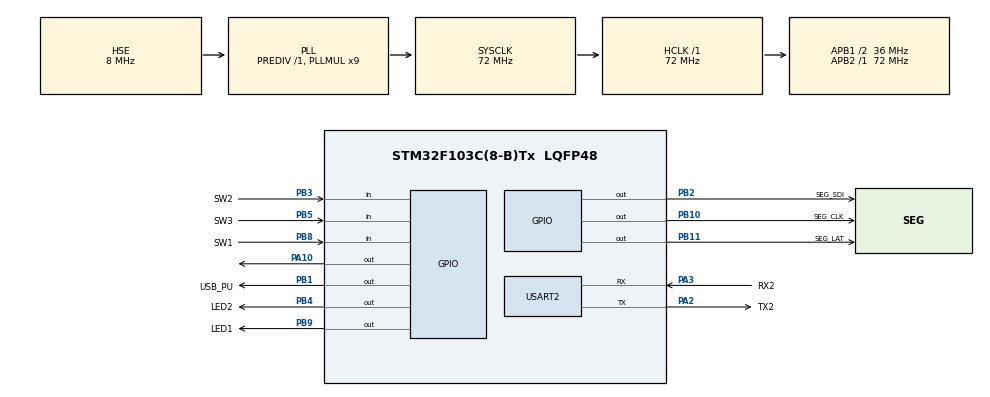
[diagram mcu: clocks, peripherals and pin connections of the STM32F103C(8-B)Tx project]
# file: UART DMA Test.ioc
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Dma.Request0=USART2_RX
Dma.USART2_RX.0.Direction=DMA_PERIPH_TO_MEMORY
Dma.USART2_RX.0.Instance=DMA1_Channel6
Dma.USART2_RX.0.MemDataAlignment=DMA_MDATAALIGN_BYTE
Dma.USART2_RX.0.MemInc=DMA_MINC_ENABLE
Dma.USART2_RX.0.Mode=DMA_CIRCULAR
Dma.USART2_RX.0.PeriphDataAlignment=DMA_PDATAALIGN_BYTE
Dma.USART2_RX.0.PeriphInc=DMA_PINC_DISABLE
Dma.USART2_RX.0.Priority=DMA_PRIORITY_LOW
Mcu.Family=STM32F1
Mcu.Name=STM32F103C(8-B)Tx
Mcu.Package=LQFP48
NVIC.DMA1_Channel6_IRQn=true\:0\:0\:false\:false\:true\:false\:true
NVIC.PriorityGroup=NVIC_PRIORITYGROUP_4
NVIC.USART2_IRQn=true\:0\:0\:false\:false\:true\:true\:true
PA0-WKUP.GPIO_Label=POT1
PA0-WKUP.Signal=ADCx_IN0
PA1.GPIO_Label=POT2
PA1.Signal=ADCx_IN1
PA10.PinState=GPIO_PIN_SET
PA10.Signal=GPIO_Output
PA11.Signal=USB_DM
PA12.Signal=USB_DP
PA13.GPIO_Label=SWDIO
PA13.Mode=Serial_Wire
PA13.Signal=SYS_JTMS-SWDIO
PA14.GPIO_Label=SWCLK
PA14.Mode=Serial_Wire
PA14.Signal=SYS_JTCK-SWCLK
PA15.GPIO_Label=BUZ
PA15.Signal=S_TIM2_CH1_ETR
PA2.GPIO_Label=TX2
PA2.Mode=Asynchronous
PA2.Signal=USART2_TX
PA3.GPIO_Label=RX2
PA3.Mode=Asynchronous
PA3.Signal=USART2_RX
PA4.GPIO_Label=POT3
PA4.Signal=ADCx_IN4
PA5.GPIO_Label=TEMP
PA5.Signal=ADCx_IN5
PA6.GPIO_Label=PWM_R
PA6.Signal=S_TIM3_CH1
PA7.GPIO_Label=PWM_G
PA7.Signal=S_TIM3_CH2
PA8.GPIO_Label=PWM_P
PA8.Signal=S_TIM1_CH1
PB0.GPIO_Label=PWM_B
PB0.Signal=S_TIM3_CH3
PB1.GPIO_Label=USB_PU
PB1.GPIO_Speed=GPIO_SPEED_FREQ_HIGH
PB1.PinState=GPIO_PIN_RESET
PB1.Signal=GPIO_Output
PB10.GPIO_Label=SEG_CLK
PB10.GPIO_ModeDefaultOutputPP=GPIO_MODE_OUTPUT_OD
PB10.GPIO_PuPd=GPIO_NOPULL
PB10.GPIO_Speed=GPIO_SPEED_FREQ_HIGH
PB10.PinState=GPIO_PIN_RESET
PB10.Signal=GPIO_Output
PB11.GPIO_Label=SEG_LAT
PB11.GPIO_ModeDefaultOutputPP=GPIO_MODE_OUTPUT_OD
PB11.GPIO_PuPd=GPIO_NOPULL
PB11.GPIO_Speed=GPIO_SPEED_FREQ_HIGH
PB11.PinState=GPIO_PIN_RESET
PB11.Signal=GPIO_Output
PB13.GPIO_Label=PWM_N
PB13.Signal=TIM1_CH1N
PB2.GPIO_Label=SEG_SDI
PB2.GPIO_ModeDefaultOutputPP=GPIO_MODE_OUTPUT_OD
PB2.GPIO_PuPd=GPIO_NOPULL
PB2.GPIO_Speed=GPIO_SPEED_FREQ_HIGH
PB2.PinState=GPIO_PIN_RESET
PB2.Signal=GPIO_Output
PB3.GPIO_Label=SW2
PB3.Signal=GPIO_Input
PB4.GPIO_Label=LED2
PB4.GPIO_Speed=GPIO_SPEED_FREQ_HIGH
PB4.PinState=GPIO_PIN_RESET
PB4.Signal=GPIO_Output
PB5.GPIO_Label=SW3
PB5.Signal=GPIO_Input
PB6.GPIO_Label=ROT_A
PB6.Signal=S_TIM4_CH1
PB7.GPIO_Label=ROT_B
PB7.Signal=S_TIM4_CH2
PB8.GPIO_Label=SW1
PB8.Signal=GPIO_Input
PB9.GPIO_Label=LED1
PB9.GPIO_Speed=GPIO_SPEED_FREQ_HIGH
PB9.PinState=GPIO_PIN_RESET
PB9.Signal=GPIO_Output
PD0-OSC_IN.GPIO_Label=OSC_IN
PD0-OSC_IN.Mode=HSE-External-Oscillator
PD0-OSC_IN.Signal=RCC_OSC_IN
PD1-OSC_OUT.GPIO_Label=OSC_OUT
PD1-OSC_OUT.Mode=HSE-External-Oscillator
PD1-OSC_OUT.Signal=RCC_OSC_OUT
ProjectManager.HeapSize=0x200
ProjectManager.StackSize=0x400
ProjectManager.TargetToolchain=MDK-ARM V5.27
RCC.ADCPresc=RCC_ADCPCLK2_DIV6
RCC.AHBFreq_Value=72000000
RCC.APB1CLKDivider=RCC_HCLK_DIV2
RCC.APB1Freq_Value=36000000
RCC.APB1TimFreq_Value=72000000
RCC.APB2Freq_Value=72000000
RCC.APB2TimFreq_Value=72000000
RCC.HCLKFreq_Value=72000000
RCC.PLLMUL=RCC_PLL_MUL9
RCC.PLLSourceVirtual=RCC_PLLSOURCE_HSE
RCC.SYSCLKFreq_VALUE=72000000
RCC.SYSCLKSource=RCC_SYSCLKSOURCE_PLLCLK
RCC.USBFreq_Value=48000000
RCC.USBPrescaler=RCC_USBCLKSOURCE_PLL_DIV1_5
SH.ADCx_IN0.0=ADC1_IN0
SH.ADCx_IN1.0=ADC1_IN1
SH.ADCx_IN4.0=ADC1_IN4
SH.ADCx_IN5.0=ADC1_IN5
SH.S_TIM1_CH1.0=TIM1_CH1
SH.S_TIM2_CH1_ETR.0=TIM2_CH1
SH.S_TIM3_CH1.0=TIM3_CH1
SH.S_TIM3_CH2.0=TIM3_CH2
SH.S_TIM3_CH3.0=TIM3_CH3
SH.S_TIM4_CH1.0=TIM4_CH1
SH.S_TIM4_CH2.0=TIM4_CH2
USART2.VirtualMode=VM_ASYNC
board=custom

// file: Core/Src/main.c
/* USER CODE BEGIN Header */
/**
  ******************************************************************************
  * @file           : main.c
  * @brief          : Main program body
  ******************************************************************************
  * @attention
  *
  * Copyright (c) 2022 STMicroelectronics.
  * All rights reserved.
  *
  * This software is licensed under terms that can be found in the LICENSE file
  * in the root directory of this software component.
  * If no LICENSE file comes with this software, it is provided AS-IS.
  *
  ******************************************************************************
  */
/* USER CODE END Header */
#include "main.h"
#include "dma.h"
#include "usart.h"
#include "gpio.h"

/* USER CODE BEGIN Includes */
#include "string.h"
#include "stdio.h"
#include "stdlib.h"
/* USER CODE END Includes */

void SystemClock_Config(void);

/* USER CODE BEGIN 0 */

uint8_t data[10];
volatile uint8_t received_f = 0;

void HAL_UART_RxCpltCallback(UART_HandleTypeDef *huart)
{
	received_f = 1;
}

void printGreeting()
{
	#define WELCOME_MSG ("\r\nWelcome\r\n")
	#define MSG ("type 10 characters\r\n")

	HAL_UART_Transmit(&huart2, (uint8_t*)WELCOME_MSG, strlen(WELCOME_MSG), HAL_MAX_DELAY);
	HAL_UART_Transmit(&huart2, (uint8_t*)MSG, strlen(MSG), HAL_MAX_DELAY);
}
/* USER CODE END 0 */

int main(void)
{

  /* MCU Configuration--------------------------------------------------------*/

  /* Reset of all peripherals, Initializes the Flash interface and the Systick. */
  HAL_Init();

  /* Configure the system clock */
  SystemClock_Config();

  /* Initialize all configured peripherals */
  MX_GPIO_Init();
  MX_DMA_Init();
  MX_USART2_UART_Init();
  /* USER CODE BEGIN 2 */

	HAL_UART_Receive_DMA(&huart2, (uint8_t *)data, 10);

	printGreeting();
  /* USER CODE END 2 */

  /* Infinite loop */
  while (1)
  {

    /* USER CODE BEGIN 3 */

		//process received data
		if(received_f)
		{
			received_f = 0;
			//read data[]
			HAL_UART_Transmit(&huart2, data, 10, HAL_MAX_DELAY);

			printGreeting();
		}
  }
  /* USER CODE END 3 */
}

void SystemClock_Config(void)
{
  RCC_OscInitTypeDef RCC_OscInitStruct = {0};
  RCC_ClkInitTypeDef RCC_ClkInitStruct = {0};

  /** Initializes the RCC Oscillators according to the specified parameters
  * in the RCC_OscInitTypeDef structure.
  */
  RCC_OscInitStruct.OscillatorType = RCC_OSCILLATORTYPE_HSE;
  RCC_OscInitStruct.HSEState = RCC_HSE_ON;
  RCC_OscInitStruct.HSEPredivValue = RCC_HSE_PREDIV_DIV1;
  RCC_OscInitStruct.HSIState = RCC_HSI_ON;
  RCC_OscInitStruct.PLL.PLLState = RCC_PLL_ON;
  RCC_OscInitStruct.PLL.PLLSource = RCC_PLLSOURCE_HSE;
  RCC_OscInitStruct.PLL.PLLMUL = RCC_PLL_MUL9;
  if (HAL_RCC_OscConfig(&RCC_OscInitStruct) != HAL_OK)
  {
    Error_Handler();
  }
  /** Initializes the CPU, AHB and APB buses clocks
  */
  RCC_ClkInitStruct.ClockType = RCC_CLOCKTYPE_HCLK|RCC_CLOCKTYPE_SYSCLK
                              |RCC_CLOCKTYPE_PCLK1|RCC_CLOCKTYPE_PCLK2;
  RCC_ClkInitStruct.SYSCLKSource = RCC_SYSCLKSOURCE_PLLCLK;
  RCC_ClkInitStruct.AHBCLKDivider = RCC_SYSCLK_DIV1;
  RCC_ClkInitStruct.APB1CLKDivider = RCC_HCLK_DIV2;
  RCC_ClkInitStruct.APB2CLKDivider = RCC_HCLK_DIV1;

  if (HAL_RCC_ClockConfig(&RCC_ClkInitStruct, FLASH_LATENCY_2) != HAL_OK)
  {
    Error_Handler();
  }
}

void Error_Handler(void)
{
  __disable_irq();
  while (1)
  {
  }
}
